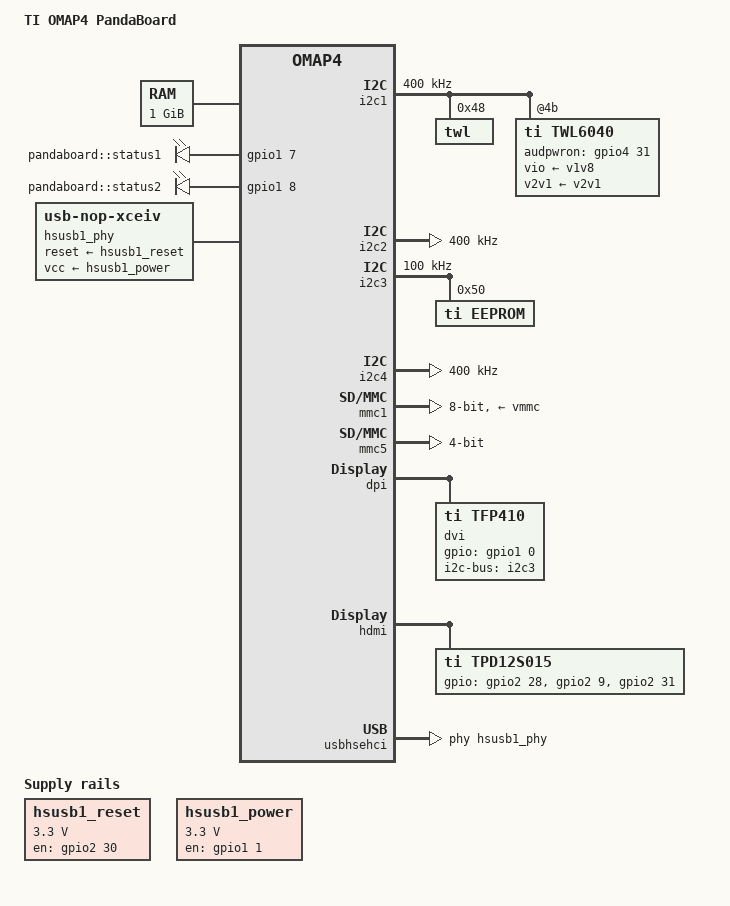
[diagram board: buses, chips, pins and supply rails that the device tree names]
/*
 * Copyright (C) 2011-2013 Texas Instruments Incorporated - http://www.ti.com/
 *
 * This program is free software; you can redistribute it and/or modify
 * it under the terms of the GNU General Public License version 2 as
 * published by the Free Software Foundation.
 */
/include/ "elpida_ecb240abacn.dtsi"

/ {
	model = "TI OMAP4 PandaBoard";
	compatible = "ti,omap4-panda", "ti,omap4430", "ti,omap4";

	memory {
		device_type = "memory";
		reg = <0x80000000 0x40000000>; /* 1 GB */
	};

	leds: leds {
		compatible = "gpio-leds";
		heartbeat {
			label = "pandaboard::status1";
			gpios = <&gpio1 7 0>;
			linux,default-trigger = "heartbeat";
		};

		mmc {
			label = "pandaboard::status2";
			gpios = <&gpio1 8 0>;
			linux,default-trigger = "mmc0";
		};
	};

	sound: sound {
		compatible = "ti,abe-twl6040";
		ti,model = "PandaBoard";

		ti,mclk-freq = <38400000>;

		ti,mcpdm = <&mcpdm>;
		ti,mcbsp1 = <&mcbsp1>;
		ti,mcbsp2 = <&mcbsp2>;
		ti,aess = <&aess>;

		ti,twl6040 = <&twl6040>;

		/* Audio routing */
		ti,audio-routing =
			"Headset Stereophone", "HSOL",
			"Headset Stereophone", "HSOR",
			"Ext Spk", "HFL",
			"Ext Spk", "HFR",
			"Line Out", "AUXL",
			"Line Out", "AUXR",
			"HSMIC", "Headset Mic",
			"Headset Mic", "Headset Mic Bias",
			"AFML", "Line In",
			"AFMR", "Line In",
			"Headset Playback", "PDM_DL1",
			"Handsfree Playback", "PDM_DL2",
			"PDM_UL1", "Capture",
			"40122000.mcbsp Playback", "BT_VX_DL",
			"BT_VX_UL", "40122000.mcbsp Capture",
			"40124000.mcbsp Playback", "MM_EXT_DL",
			"MM_EXT_UL", "40124000.mcbsp Capture";
	};

	sound_hdmi {
		compatible = "ti,omap-hdmi-tpd12s015-audio";
		ti,model = "OMAP4HDMI";

		ti,hdmi_audio = <&hdmi>;
		ti,level_shifter = <&tpd12s015>;
	};

	/* HS USB Port 1 RESET */
	hsusb1_reset: hsusb1_reset_reg {
		compatible = "regulator-fixed";
		regulator-name = "hsusb1_reset";
		regulator-min-microvolt = <3300000>;
		regulator-max-microvolt = <3300000>;
		gpio = <&gpio2 30 0>;	/* gpio_62 */
		startup-delay-us = <70000>;
		enable-active-high;
	};

	/* HS USB Port 1 Power */
	hsusb1_power: hsusb1_power_reg {
		compatible = "regulator-fixed";
		regulator-name = "hsusb1_vbus";
		regulator-min-microvolt = <3300000>;
		regulator-max-microvolt = <3300000>;
		gpio = <&gpio1 1 0>;	/* gpio_1 */
		startup-delay-us = <70000>;
		enable-active-high;
	};

	/* HS USB Host PHY on PORT 1 */
	hsusb1_phy: hsusb1_phy {
		compatible = "usb-nop-xceiv";
		reset-supply = <&hsusb1_reset>;
		vcc-supply = <&hsusb1_power>;
	};

	/* hsusb1_phy is clocked by FREF_CLK3 i.e. auxclk3 */
	clock_alias {
		clock-name = "auxclk3_ck";
		clock-alias = "main_clk";
		device = <&hsusb1_phy>;
	};
};

&omap4_pmx_core {
	pinctrl-names = "default";
	pinctrl-0 = <
			&twl6040_pins
			&mcpdm_pins
			&mcbsp1_pins
			&dss_hdmi_pins
			&tpd12s015_pins
			&hsusbb1_pins
			&led_gpio_pins
	>;

	twl6040_pins: pinmux_twl6040_pins {
		pinctrl-single,pins = <
			0xe0 0x3	/* hdq_sio.gpio_127 OUTPUT | MODE3 */
			0x160 0x100	/* sys_nirq2.sys_nirq2 INPUT | MODE0 */
		>;
	};

	mcpdm_pins: pinmux_mcpdm_pins {
		pinctrl-single,pins = <
			0xc6 0x108	/* abe_pdm_ul_data.abe_pdm_ul_data INPUT PULLDOWN | MODE0 */
			0xc8 0x108	/* abe_pdm_dl_data.abe_pdm_dl_data INPUT PULLDOWN | MODE0 */
			0xca 0x118	/* abe_pdm_frame.abe_pdm_frame INPUT PULLUP | MODE0 */
			0xcc 0x108	/* abe_pdm_lb_clk.abe_pdm_lb_clk INPUT PULLDOWN | MODE0 */
			0xce 0x108	/* abe_clks.abe_clks INPUT PULLDOWN | MODE0 */
		>;
	};

	mcbsp1_pins: pinmux_mcbsp1_pins {
		pinctrl-single,pins = <
			0xbe 0x100	/* abe_mcbsp1_clkx.abe_mcbsp1_clkx INPUT | MODE0 */
			0xc0 0x108	/* abe_mcbsp1_dr.abe_mcbsp1_dr INPUT PULLDOWN | MODE0 */
			0xc2 0x8		/* abe_mcbsp1_dx.abe_mcbsp1_dx OUTPUT PULLDOWN | MODE0 */
			0xc4 0x100	/* abe_mcbsp1_fsx.abe_mcbsp1_fsx INPUT | MODE0 */
		>;
	};

	dss_hdmi_pins: pinmux_dss_hdmi_pins {
		pinctrl-single,pins = <
			0x5a 0x118	/* hdmi_cec.hdmi_cec INPUT PULLUP | MODE 0 */
			0x5c 0x118	/* hdmi_scl.hdmi_scl INPUT PULLUP | MODE 0 */
			0x5e 0x118	/* hdmi_sda.hdmi_sda INPUT PULLUP | MODE 0 */
		>;
	};

	tpd12s015_pins: pinmux_tpd12s015_pins {
		pinctrl-single,pins = <
			0x22 0x3	/* gpmc_a17.gpio_41 OUTPUT | MODE3 */
			0x48 0x3	/* gpmc_nbe1.gpio_60 OUTPUT | MODE3 */
			0x58 0x10b	/* hdmi_hpd.gpio_63 INPUT PULLDOWN | MODE3 */
		>;
	};

	hsusbb1_pins: pinmux_hsusbb1_pins {
		pinctrl-single,pins = <
			0x82 0x10C	/* USBB1_ULPITLL_CLK_MUXMODE.usbb1_ulpiphy_clk INPUT | PULLDOWN */
			0x84 0x4	/* USBB1_ULPITLL_CLK_MUXMODE.usbb1_ulpiphy_stp OUTPUT */
			0x86 0x104	/* USBB1_ULPITLL_CLK_MUXMODE.usbb1_ulpiphy_dir INPUT | PULLDOWN */
			0x88 0x104	/* USBB1_ULPITLL_CLK_MUXMODE.usbb1_ulpiphy_nxt INPUT | PULLDOWN */
			0x8a 0x104	/* USBB1_ULPITLL_CLK_MUXMODE.usbb1_ulpiphy_dat0 INPUT | PULLDOWN */
			0x8c 0x104	/* USBB1_ULPITLL_CLK_MUXMODE.usbb1_ulpiphy_dat1 INPUT | PULLDOWN */
			0x8e 0x104	/* USBB1_ULPITLL_CLK_MUXMODE.usbb1_ulpiphy_dat2 INPUT | PULLDOWN */
			0x90 0x104	/* USBB1_ULPITLL_CLK_MUXMODE.usbb1_ulpiphy_dat3 INPUT | PULLDOWN */
			0x92 0x104	/* USBB1_ULPITLL_CLK_MUXMODE.usbb1_ulpiphy_dat4 INPUT | PULLDOWN */
			0x94 0x104	/* USBB1_ULPITLL_CLK_MUXMODE.usbb1_ulpiphy_dat5 INPUT | PULLDOWN */
			0x96 0x104	/* USBB1_ULPITLL_CLK_MUXMODE.usbb1_ulpiphy_dat6 INPUT | PULLDOWN */
			0x98 0x104	/* USBB1_ULPITLL_CLK_MUXMODE.usbb1_ulpiphy_dat7 INPUT | PULLDOWN */
		>;
	};

	i2c1_pins: pinmux_i2c1_pins {
		pinctrl-single,pins = <
			0xe2 0x118        /* i2c1_scl PULLUP | INPUTENABLE | MODE0 */
			0xe4 0x118        /* i2c1_sda PULLUP | INPUTENABLE | MODE0 */
		>;
	};

	i2c2_pins: pinmux_i2c2_pins {
		pinctrl-single,pins = <
			0xe6 0x118        /* i2c2_scl PULLUP | INPUTENABLE | MODE0 */
			0xe8 0x118        /* i2c2_sda PULLUP | INPUTENABLE | MODE0 */
		>;
	};

	i2c3_pins: pinmux_i2c3_pins {
		pinctrl-single,pins = <
			0xea 0x118        /* i2c3_scl PULLUP | INPUTENABLE | MODE0 */
			0xec 0x118     /* i2c3_sda PULLUP | INPUTENABLE | MODE0 */
		>;
	};

	i2c4_pins: pinmux_i2c4_pins {
		pinctrl-single,pins = <
			0xee 0x118        /* i2c4_scl PULLUP | INPUTENABLE | MODE0 */
			0xf0 0x118     /* i2c4_sda PULLUP | INPUTENABLE | MODE0 */
		>;
	};

	led_gpio_pins: pinmux_leds_pins {
		pinctrl-single,pins = <
		>;
	};
};

&omap4_pmx_wkup {
	pinctrl-names = "default";
	pinctrl-0 = <
		&led_wkgpio_pins
	>;

	led_wkgpio_pins: pinmux_leds_wkpins {
		pinctrl-single,pins = <
			0x1a 0x3	/* gpio_wk7 OUTPUT | MODE 3 */
			0x1c 0x3	/* gpio_wk8 OUTPUT | MODE 3 */
		>;
	};
};

&i2c1 {
	pinctrl-names = "default";
	pinctrl-0 = <&i2c1_pins>;

	clock-frequency = <400000>;

	twl: twl@48 {
		reg = <0x48>;
		/* SPI = 0, IRQ# = 7, 4 = active high level-sensitive */
		interrupts = <0 7 4>; /* IRQ_SYS_1N cascaded to gic */
		interrupt-parent = <&gic>;
	};

	twl6040: twl@4b {
		compatible = "ti,twl6040";
		/* SPI = 0, IRQ# = 119, 4 = active high level-sensitive */
		interrupts = <0 119 4>; /* IRQ_SYS_2N cascaded to gic */
		interrupt-parent = <&gic>;
		ti,audpwron-gpio = <&gpio4 31 0>;  /* gpio line 127 */

		vio-supply = <&v1v8>;
		v2v1-supply = <&v2v1>;
		enable-active-high;
	};
};

/include/ "twl6030.dtsi"
/include/ "twl6040.dtsi"

&i2c2 {
	pinctrl-names = "default";
	pinctrl-0 = <&i2c2_pins>;

	clock-frequency = <400000>;
};

&i2c3 {
	pinctrl-names = "default";
	pinctrl-0 = <&i2c3_pins>;

	clock-frequency = <100000>;

	/*
	 * Display monitor features are burnt in their EEPROM as EDID data.
	 * The EEPROM is connected as I2C slave device.
	 */
	eeprom@50 {
		compatible = "ti,eeprom";
		reg = <0x50>;
	};
};

&i2c4 {
	pinctrl-names = "default";
	pinctrl-0 = <&i2c4_pins>;

	clock-frequency = <400000>;
};

&mmc1 {
	vmmc-supply = <&vmmc>;
	bus-width = <8>;
};

&mmc2 {
	status = "disabled";
};

&mmc3 {
	status = "disabled";
};

&mmc4 {
	status = "disabled";
};

&mmc5 {
	ti,non-removable;
	bus-width = <4>;
};

&emif1 {
	cs1-used;
	device-handle = <&elpida_ECB240ABACN>;
};

&emif2 {
	cs1-used;
	device-handle = <&elpida_ECB240ABACN>;
};

&mcbsp3 {
	status = "disabled";
};

&dmic {
	status = "disabled";
};

&dpi {
	dvi {
		compatible = "ti,tfp410";
		data-lines = <24>;
		gpios = <&gpio1 0 0>;	/* 0, power-down */
		i2c-bus = <&i2c3>;
	};
};

&hdmi {
	tpd12s015: tpd12s015 {
		compatible = "ti,tpd12s015";

		gpios = <&gpio2 28 0>,	/* 60, CT CP HPD */
			<&gpio2 9 0>,	/* 41, LS OE */
			<&gpio2 31 0>;	/* 63, HPD */

		hdmi {
			compatible = "ti,hdmi_panel";
		};

	};
};

&twl_usb_comparator {
	usb-supply = <&vusb>;
};

&usbhshost {
	port1-mode = "ehci-phy";
};

&usbhsehci {
	phys = <&hsusb1_phy>;
};

&usb_otg_hs {
	interface-type = <1>;
	mode = <3>;
	power = <50>;
};
